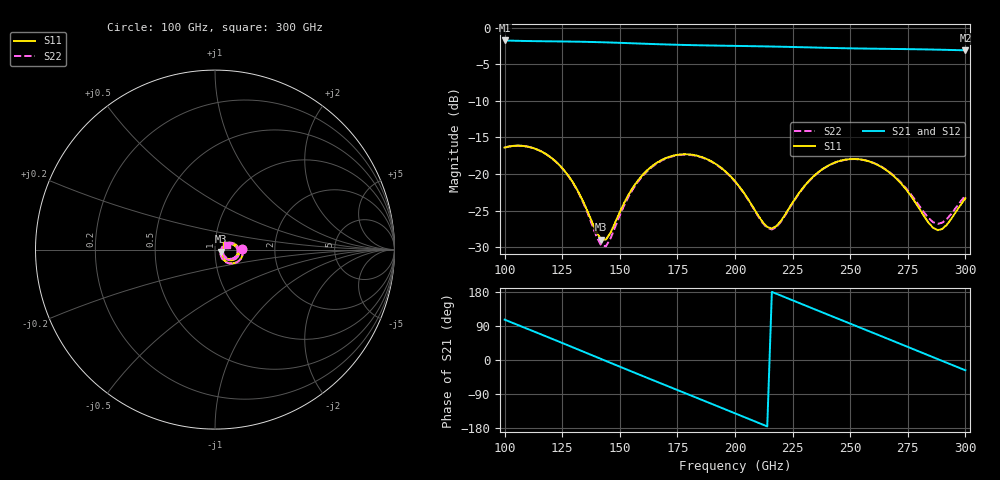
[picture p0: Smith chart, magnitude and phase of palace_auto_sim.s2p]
#  GHZ S DB R 50
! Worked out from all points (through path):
!   101 points, 100 GHz to 300 GHz, reference 50 ohm
!   highest |S21| = -1.76 dB at 100 GHz (marker M1); lowest = -3.1 dB at 300 GHz (marker M2)
!   group delay of S21, straight-line fit = 6.86 ps
!   lowest |S11| = -28.9 dB at 142 GHz (marker M3), VSWR 1.07, Z = 53.5 - j1.22 ohm
!   |S11| at or under -10 dB: start of sweep to end of sweep
!   |S22| runs from -29.8 to -16.1 dB; largest |S21 - S12| = 9.3e-14
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100  -16.38 2.2  -1.76 106.4  -1.76 106.4  -16.37 1.7
108  -16.15 -13.1  -1.83 86.9  -1.83 86.9  -16.15 -13.9
116  -16.92 -28.2  -1.87 67.2  -1.87 67.2  -16.91 -29.3
126  -19.55 -44.4  -1.91 42.4  -1.91 42.4  -19.57 -46.1
134  -23.67 -48.9  -1.95 22.4  -1.95 22.4  -23.81 -51.8
142  -28.94 -18.6  -2.01 2.4  -2.01 2.4  -29.78 -21.0
146  -27.98 10.3  -2.05 -7.6  -2.05 -7.6  -28.76 11.8
154  -22.69 26.4  -2.13 -27.5  -2.13 -27.5  -22.95 28.4
168  -18.10 9.9  -2.29 -62.1  -2.29 -62.1  -18.19 11.1
176  -17.32 -3.7  -2.36 -81.7  -2.36 -81.7  -17.38 -2.8
184  -17.52 -17.4  -2.42 -101.3  -2.42 -101.3  -17.57 -16.7
200  -20.97 -38.6  -2.51 -140.7  -2.51 -140.7  -21.02 -38.3
208  -24.59 -36.9  -2.55 -160.4  -2.55 -160.4  -24.67 -36.6
216  -27.41 -7.7  -2.59 179.8  -2.59 179.8  -27.56 -7.1
224  -24.39 19.4  -2.65 159.9  -2.65 159.9  -24.47 20.5
234  -20.33 17.9  -2.73 135.3  -2.73 135.3  -20.37 18.9
244  -18.34 4.3  -2.80 110.7  -2.80 110.7  -18.36 5.4
252  -17.94 -8.7  -2.85 91.1  -2.85 91.1  -17.94 -7.5
268  -20.02 -32.7  -2.92 51.8  -2.92 51.8  -19.96 -30.7
278  -23.72 -37.7  -2.96 27.1  -2.96 27.1  -23.45 -34.7
288  -27.65 -9.6  -3.02 2.4  -3.02 2.4  -26.79 -8.6
300  -23.28 21.5  -3.11 -27.2  -3.11 -27.2  -22.90 18.8
